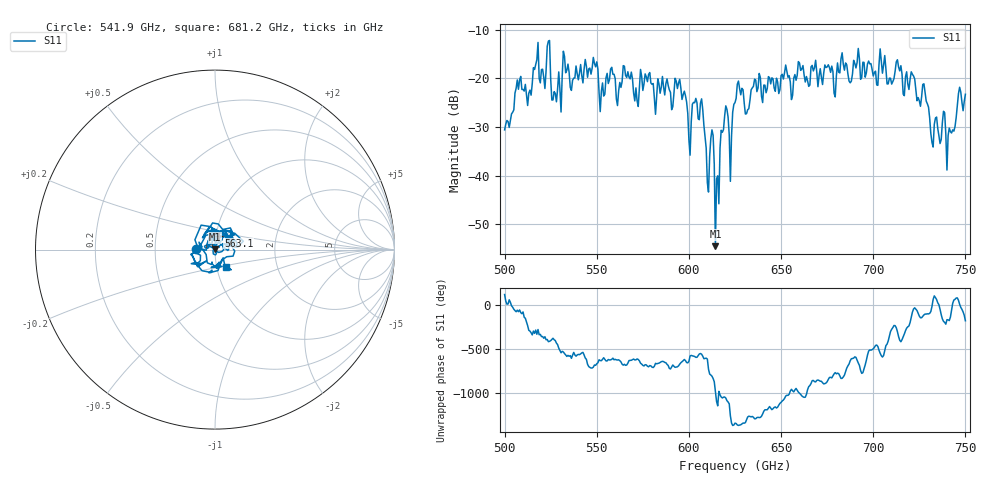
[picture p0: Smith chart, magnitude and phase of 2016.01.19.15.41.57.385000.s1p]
!Created with skrf (http://scikit-rf.org).
# GHz S RI R 50.0
!freq ReS11 ImS11
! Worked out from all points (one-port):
!   401 points, 500 GHz to 750 GHz, reference 50 ohm
!   lowest |S11| = -54.5 dB at 614.4 GHz (marker M1), VSWR 1.00, Z = 50 + j0.184 ohm
!   |S11| at or under -10 dB: start of sweep to end of sweep
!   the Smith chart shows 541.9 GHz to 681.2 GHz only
!   S11 on the Smith chart (normalised r, x): 541.9 GHz: 0.81, +0.01; 563.1 GHz: 1.03, +0.16; 681.2 GHz: 1.11, -0.22
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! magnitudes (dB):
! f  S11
! 500 GHz  -30.6
! 507.5 GHz  -22.2
! 513.8 GHz  -22.4
! 516.9 GHz  -17.1
! 520.6 GHz  -18.1
! 523.8 GHz  -12.3
! 526.9 GHz  -22.7
! 531.2 GHz  -19.5
! 541.9 GHz  -19.4
! 562.5 GHz  -20.8
! 563.1 GHz  -21.8
! 593.8 GHz  -22.1
! 600 GHz  -32.7
! 606.9 GHz  -24.2
! 610 GHz  -41.5
! 612.5 GHz  -30.6
! 614.4 GHz  -54.5
! 615.6 GHz  -40.0
! 618.8 GHz  -30.5
! 622.5 GHz  -41.2
! 625 GHz  -25.0
! 656.2 GHz  -23.5
! 681.2 GHz  -18.7
! 687.5 GHz  -20.9
! 705 GHz  -18.9
! 718.8 GHz  -21.1
! 740.6 GHz  -31.8
! 750 GHz  -23.3
